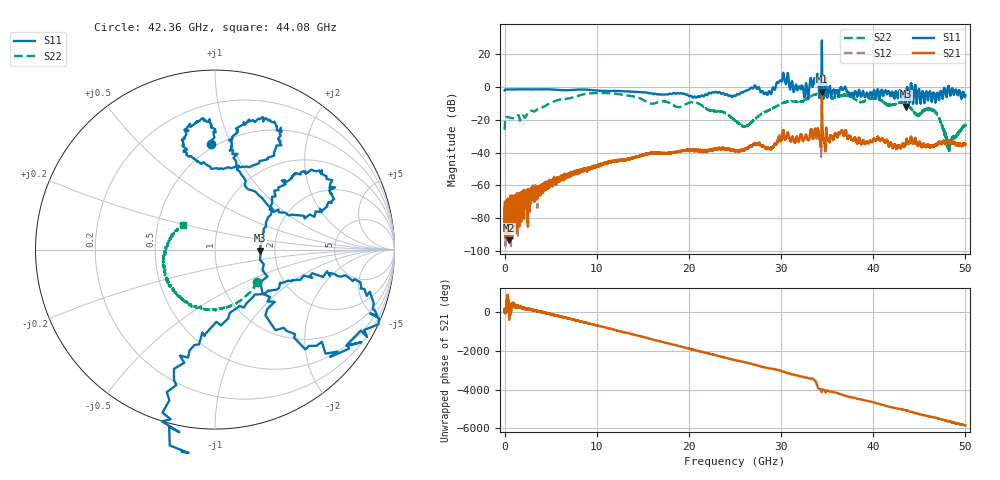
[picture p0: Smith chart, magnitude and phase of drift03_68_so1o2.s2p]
!Created with skrf (http://scikit-rf.org).
# Hz S RI R 50.0
!freq ReS11 ImS11 ReS21 ImS21 ReS12 ImS12 ReS22 ImS22
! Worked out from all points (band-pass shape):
!   10000 points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, 5.3 MHz to 50 GHz, reference 50 ohm
!   highest |S21| = -2.89 dB at 34.43 GHz (marker M1); lowest = -93.4 dB at 430.3 MHz (marker M2)
!   |S21| within 3 dB of the highest: 34.42745 GHz to 34.43412 GHz (6.67 MHz wide, 0.0194 % of centre)
!   lowest |S11| = -12.0 dB at 43.52 GHz (marker M3), VSWR 1.67, Z = 83.5 - j1.19 ohm
!   |S11| at or under -10 dB: 43.48761 GHz to 43.54355 GHz (55.94 MHz wide, 0.129 % of centre); 43.5491 GHz to 43.55195 GHz (2.855 MHz wide, 0.00656 % of centre); 44.31337 GHz to 44.3165 GHz (3.128 MHz wide, 0.00706 % of centre) (the widest 3 of 5)
!   |S22| runs from -39.1 to -3.6 dB; largest |S21 - S12| = 0.21
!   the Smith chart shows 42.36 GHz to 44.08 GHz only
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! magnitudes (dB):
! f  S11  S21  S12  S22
! 5.3 MHz  -2.1  -76.5  -75.3  -26.0
! 430.3 MHz  -1.4  -93.4  -72.5  -18.5
! 8.34 GHz  -1.5  -51.3  -50.5  -4.7
! 16.67 GHz  -4.4  -40.4  -40.3  -9.2
! 20.73 GHz  -6.2  -39.1  -38.3  -9.3
! 25.01 GHz  -5.5  -38.7  -39.0  -20.4
! 26.2 GHz  -2.3  -37.7  -37.2  -23.7
! 27.37 GHz  -1.1  -34.8  -35.0  -18.5
! 28.72 GHz  -2.5  -37.5  -37.7  -14.1
! 30.14 GHz  4.4  -29.5  -29.8  -9.9
! 32.74 GHz  2.0  -29.6  -29.3  -7.4
! 33.34 GHz  2.6  -27.4  -27.8  -5.2
! 33.82 GHz  4.0  -29.0  -29.6  -4.3
! 34.43 GHz  28.5  -2.9  -4.9  -4.0
! 36.48 GHz  -0.6  -27.9  -27.9  -5.5
! 38.89 GHz  -2.2  -32.3  -32.4  -9.0
! 41.67 GHz  -2.9  -35.3  -35.5  -10.8
! 43.52 GHz  -12.0  -34.5  -34.4  -10.3
! 44.8 GHz  -6.1  -35.6  -35.4  -17.3
! 46.69 GHz  -6.7  -35.6  -35.7  -14.9
! 48.21 GHz  -0.2  -32.9  -32.7  -38.4
! 50 GHz  -5.2  -35.0  -34.8  -23.4
